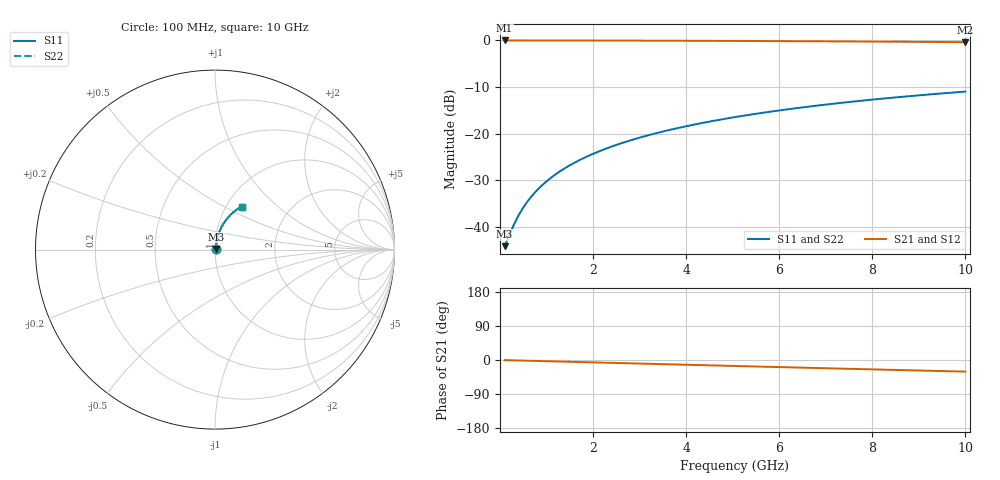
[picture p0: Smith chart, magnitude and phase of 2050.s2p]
# Hz S RI R 50.00
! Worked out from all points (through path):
!   100 points, 100 MHz to 10 GHz, reference 50 ohm
!   highest |S21| = -0.05 dB at 100 MHz (marker M1); lowest = -0.4 dB at 10 GHz (marker M2)
!   group delay of S21, straight-line fit = 8.53 ps
!   lowest |S11| = -44.1 dB at 100 MHz (marker M3), VSWR 1.01, Z = 50.5 + j0.303 ohm
!   |S11| at or under -10 dB: start of sweep to end of sweep
!   |S22| runs from -44.1 to -11.0 dB; largest |S21 - S12| = 0
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1e8  0.00546 0.003  0.9945 -0.00545  0.9945 -0.00545  0.00546 0.003
3e8  0.00565 0.009  0.9943 -0.0164  0.9943 -0.0164  0.00565 0.009
4e8  0.00578 0.012  0.9942 -0.0218  0.9942 -0.0218  0.00578 0.012
5e8  0.00595 0.015  0.994 -0.0273  0.994 -0.0273  0.00595 0.015
6e8  0.00615 0.018  0.9937 -0.0327  0.9937 -0.0327  0.00615 0.018
7e8  0.00637 0.021  0.9935 -0.0382  0.9935 -0.0382  0.00637 0.021
9e8  0.00692 0.0269  0.9928 -0.049  0.9928 -0.049  0.00692 0.0269
1e9  0.00725 0.0299  0.9924 -0.0545  0.9924 -0.0545  0.00725 0.0299
1.2e9  0.00799 0.0359  0.9915 -0.0653  0.9915 -0.0653  0.00799 0.0359
1.5e9  0.00934 0.0448  0.9899 -0.0816  0.9899 -0.0816  0.00934 0.0448
1.8e9  0.011 0.0536  0.988 -0.0978  0.988 -0.0978  0.011 0.0536
2.1e9  0.0129 0.0623  0.9857 -0.1139  0.9857 -0.1139  0.0129 0.0623
2.5e9  0.0159 0.0739  0.9821 -0.1353  0.9821 -0.1353  0.0159 0.0739
2.9e9  0.0194 0.0853  0.978 -0.1565  0.978 -0.1565  0.0194 0.0853
3.4e9  0.0245 0.0993  0.9719 -0.1828  0.9719 -0.1828  0.0245 0.0993
4.2e9  0.0341 0.121  0.9605 -0.2242  0.9605 -0.2242  0.0341 0.121
5.1e9  0.047 0.1441  0.9449 -0.2695  0.9449 -0.2695  0.047 0.1441
5.9e9  0.0603 0.1634  0.929 -0.3086  0.929 -0.3086  0.0603 0.1634
6.7e9  0.075 0.1814  0.9111 -0.3464  0.9111 -0.3464  0.075 0.1814
7.5e9  0.0911 0.198  0.8915 -0.3828  0.8915 -0.3828  0.0911 0.198
8.4e9  0.1106 0.2147  0.8674 -0.4219  0.8674 -0.4219  0.1106 0.2147
1e10  0.1483 0.2395  0.8204 -0.4864  0.8204 -0.4864  0.1483 0.2395
